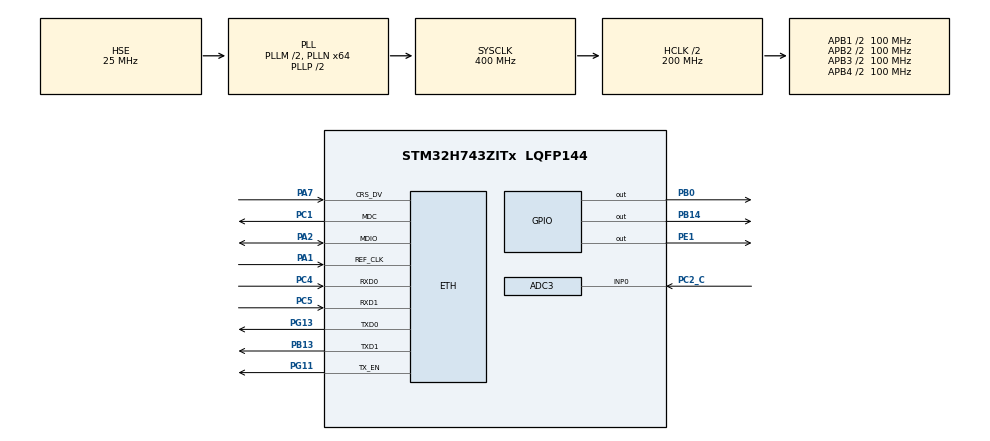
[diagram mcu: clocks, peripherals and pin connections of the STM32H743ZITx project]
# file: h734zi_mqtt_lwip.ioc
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ADC3.Channel-0\#ChannelRegularConversion=ADC_CHANNEL_0
ADC3.ClockPrescaler=ADC_CLOCK_ASYNC_DIV128
ADC3.NbrOfConversionFlag=1
ADC3.OffsetNumber-0\#ChannelRegularConversion=ADC_OFFSET_NONE
ADC3.OffsetSignedSaturation-0\#ChannelRegularConversion=DISABLE
ADC3.Rank-0\#ChannelRegularConversion=1
ADC3.Resolution=ADC_RESOLUTION_12B_OPT
ADC3.SamplingTime-0\#ChannelRegularConversion=ADC_SAMPLETIME_1CYCLE_5
CORTEX_M7.AccessPermission-Cortex_Memory_Protection_Unit_Region0_Settings=MPU_REGION_FULL_ACCESS
CORTEX_M7.AccessPermission-Cortex_Memory_Protection_Unit_Region1_Settings=MPU_REGION_FULL_ACCESS
CORTEX_M7.AccessPermission-Cortex_Memory_Protection_Unit_Region2_Settings=MPU_REGION_FULL_ACCESS
CORTEX_M7.BaseAddress-Cortex_Memory_Protection_Unit_Region0_Settings=0x30040000
CORTEX_M7.BaseAddress-Cortex_Memory_Protection_Unit_Region1_Settings=0x30044000
CORTEX_M7.BaseAddress-Cortex_Memory_Protection_Unit_Region2_Settings=0x30040000
CORTEX_M7.CPU_DCache=Enabled
CORTEX_M7.CPU_ICache=Enabled
CORTEX_M7.Enable-Cortex_Memory_Protection_Unit_Region0_Settings=MPU_REGION_ENABLE
CORTEX_M7.Enable-Cortex_Memory_Protection_Unit_Region1_Settings=MPU_REGION_ENABLE
CORTEX_M7.Enable-Cortex_Memory_Protection_Unit_Region2_Settings=MPU_REGION_ENABLE
CORTEX_M7.IsBufferable-Cortex_Memory_Protection_Unit_Region2_Settings=MPU_ACCESS_BUFFERABLE
CORTEX_M7.IsCacheable-Cortex_Memory_Protection_Unit_Region1_Settings=MPU_ACCESS_CACHEABLE
CORTEX_M7.MPU_Control=MPU_PRIVILEGED_DEFAULT
CORTEX_M7.Size-Cortex_Memory_Protection_Unit_Region0_Settings=MPU_REGION_SIZE_16KB
CORTEX_M7.Size-Cortex_Memory_Protection_Unit_Region1_Settings=MPU_REGION_SIZE_16KB
CORTEX_M7.Size-Cortex_Memory_Protection_Unit_Region2_Settings=MPU_REGION_SIZE_256B
CORTEX_M7.TypeExtField-Cortex_Memory_Protection_Unit_Region0_Settings=MPU_TEX_LEVEL1
ETH.MediaInterface=HAL_ETH_RMII_MODE
LWIP.BSP.number=1
LWIP.IP_ADDRESS=172.016.010.012
LWIP.LWIP_DHCP=0
LWIP.LWIP_HTTPD=1
LWIP.MEM_SIZE=16360
LWIP.NETMASK_ADDRESS=255.255.255.000
LWIP.Version=v2.1.2_Cube
LWIP0.BSP.STBoard=false
LWIP0.BSP.api=BSP_COMPONENT_DRIVER
LWIP0.BSP.component=LAN8742
LWIP0.BSP.i2caddr=0
LWIP0.BSP.instance=LAN8742
LWIP0.BSP.name=Driver_PHY
LWIP0.BSP.solution=LAN8742
Mcu.Family=STM32H7
Mcu.Name=STM32H743ZITx
Mcu.Package=LQFP144
NVIC.ETH_IRQn=true\:5\:0\:true\:false\:true\:true\:true
NVIC.PriorityGroup=NVIC_PRIORITYGROUP_4
NVIC.TIM3_IRQn=true\:0\:0\:false\:false\:true\:true\:true
PA1.GPIO_Speed=GPIO_SPEED_FREQ_VERY_HIGH
PA1.Mode=RMII
PA1.Signal=ETH_REF_CLK
PA2.GPIO_Speed=GPIO_SPEED_FREQ_VERY_HIGH
PA2.Mode=RMII
PA2.Signal=ETH_MDIO
PA7.GPIO_Speed=GPIO_SPEED_FREQ_VERY_HIGH
PA7.Mode=RMII
PA7.Signal=ETH_CRS_DV
PB0.Signal=GPIO_Output
PB13.GPIO_Speed=GPIO_SPEED_FREQ_VERY_HIGH
PB13.Mode=RMII
PB13.Signal=ETH_TXD1
PB14.Signal=GPIO_Output
PC1.Mode=RMII
PC1.Signal=ETH_MDC
PC2_C.Mode=IN0-Single-Ended
PC2_C.Signal=ADC3_INP0
PC4.GPIO_Speed=GPIO_SPEED_FREQ_VERY_HIGH
PC4.Mode=RMII
PC4.Signal=ETH_RXD0
PC5.GPIO_Speed=GPIO_SPEED_FREQ_VERY_HIGH
PC5.Mode=RMII
PC5.Signal=ETH_RXD1
PE1.Signal=GPIO_Output
PG11.GPIO_Speed=GPIO_SPEED_FREQ_VERY_HIGH
PG11.Mode=RMII
PG11.Signal=ETH_TX_EN
PG13.GPIO_Speed=GPIO_SPEED_FREQ_VERY_HIGH
PG13.Mode=RMII
PG13.Signal=ETH_TXD0
PH0-OSC_IN\ (PH0).Mode=HSE-External-Oscillator
PH0-OSC_IN\ (PH0).Signal=RCC_OSC_IN
PH1-OSC_OUT\ (PH1).Mode=HSE-External-Oscillator
PH1-OSC_OUT\ (PH1).Signal=RCC_OSC_OUT
ProjectManager.HeapSize=0x200
ProjectManager.StackSize=0x400
ProjectManager.TargetToolchain=STM32CubeIDE
RCC.ADCFreq_Value=30000000
RCC.APB1Freq_Value=100000000
RCC.APB2Freq_Value=100000000
RCC.APB3Freq_Value=100000000
RCC.APB4Freq_Value=100000000
RCC.CortexFreq_Value=400000000
RCC.D1PPRE=RCC_APB3_DIV2
RCC.D2PPRE1=RCC_APB1_DIV2
RCC.D2PPRE2=RCC_APB2_DIV2
RCC.D3PPRE=RCC_APB4_DIV2
RCC.DIVM1=2
RCC.DIVM2=2
RCC.DIVN1=64
RCC.DIVN2=12
RCC.DIVP2=5
RCC.HCLKFreq_Value=200000000
RCC.HPRE=RCC_HCLK_DIV2
RCC.PLLFRACN=0
RCC.PLLSourceVirtual=RCC_PLLSOURCE_HSE
RCC.SYSCLKFreq_VALUE=400000000
RCC.SYSCLKSource=RCC_SYSCLKSOURCE_PLLCLK
RCC.USBFreq_Value=400000000
TIM3.Period=1999
TIM3.Prescaler=59999
VP_LWIP_VS_Enabled.Mode=Enabled
VP_TIM3_VS_ClockSourceINT.Mode=Internal
board=custom

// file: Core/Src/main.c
/* USER CODE BEGIN Header */
/**
  ******************************************************************************
  * @file           : main.c
  * @brief          : Main program body
  ******************************************************************************
  * @attention
  *
  * <h2><center>&copy; Copyright (c) 2020 STMicroelectronics.
  * All rights reserved.</center></h2>
  *
  * This software component is licensed by ST under BSD 3-Clause license,
  * the "License"; You may not use this file except in compliance with the
  * License. You may obtain a copy of the License at:
  *                        opensource.org/licenses/BSD-3-Clause
  *
  ******************************************************************************
  */
/* USER CODE END Header */
#include "main.h"
#include "lwip.h"

/* USER CODE BEGIN Includes */
#include "mqtt.h"
#include "lwip_mqtt.h"
#include "lwip/opt.h"
#include "lwip/init.h"
#include "lwip/netif.h"
#include "netif/etharp.h"
#include "ethernetif.h"
#include "httpd.h"
#include "stdbool.h"
#include "math.h"
#include "adc_calculate.h"
/* USER CODE END Includes */

/* USER CODE BEGIN PTD */
typedef struct __packed {
	        uint32_t device_ip;
	        uint32_t subnet_mask;
	        uint32_t _padding[4];
	    } NetworkConfig;

/* USER CODE END PTD */

ADC_HandleTypeDef hadc3;

TIM_HandleTypeDef htim3;

/* USER CODE BEGIN PV */
__attribute__((__section__(".user_data"))) const uint32_t saved_config[2];

mqtt_client_t *client;

volatile uint16_t value;
volatile uint32_t sum_val =0;
volatile uint16_t avg_val =0;
double temp;
char* temperature_msg;
char* flash_msg;
bool temp_rdy_flag = 0;
volatile NetworkConfig current_config;
/* USER CODE END PV */

void SystemClock_Config(void);
static void MPU_Config(void);
static void MX_GPIO_Init(void);
static void MX_TIM3_Init(void);
static void MX_ADC3_Init(void);
/* USER CODE BEGIN PFP */
void HAL_TIM_PeriodElapsedCallback(TIM_HandleTypeDef *htim);
void setLD3on();
void setLD2on();
void setLD3off();
void setLD2off();
void process_mqtt_data(const u8_t *data, u16_t len);
void mqtt_reconnect();
void write_config_flash(uint8_t ip[4], uint8_t mask[4]);
/* USER CODE END PFP */

int main(void)
{

  /* MPU Configuration--------------------------------------------------------*/
  MPU_Config();

  /* Enable I-Cache---------------------------------------------------------*/
  SCB_EnableICache();

  /* Enable D-Cache---------------------------------------------------------*/
  SCB_EnableDCache();

  /* MCU Configuration--------------------------------------------------------*/

  /* Reset of all peripherals, Initializes the Flash interface and the Systick. */
  HAL_Init();

  /* Configure the system clock */
  SystemClock_Config();

  /* Initialize all configured peripherals */
  MX_GPIO_Init();
  MX_TIM3_Init();
  MX_LWIP_Init();
  MX_ADC3_Init();
  /* USER CODE BEGIN 2 */
  //init_Users();
  //init_Accounts();
  //add_Account(new_Account("admin", "admin"));

	httpd_init();
	client = mqtt_client_new();
	example_do_connect(client, "/presence");
	example_publish(client, "Hello from STM32H743");
	example_subscribe(client, "/led");

	HAL_TIM_Base_Start_IT(&htim3);

	    if(saved_config[0]){
	    	flash_msg = malloc(sizeof(char)*30);
	    	sprintf(flash_msg, "flash_read: %lu %lu", (unsigned long)saved_config[0], (unsigned long)saved_config[1]);
	    	publish_message(client, flash_msg, "/flash");

	    	uint8_t ip_flash[4];
	    	uint8_t mask_flash[4];

	    	ip_flash[0] = (saved_config[0] & 0xFF000000) >> 24;
	    	ip_flash[1] = (saved_config[0] & 0xFF0000) >> 16;
	    	ip_flash[2] = (saved_config[0] & 0xFF00) >> 8;
	    	ip_flash[3] = (saved_config[0] & 0xFF);

	    	mask_flash[0] = (saved_config[1] & 0xFF000000) >> 24;
	    	mask_flash[1] = (saved_config[1] & 0xFF0000) >> 16;
	    	mask_flash[2] = (saved_config[1] & 0xFF00) >> 8;
	    	mask_flash[3] = (saved_config[1] & 0xFF);

	    	changeIPaddress(ip_flash, mask_flash);

	    	flash_msg = malloc(sizeof(char)*30);
	    	sprintf(flash_msg, "flash_read: %u %u %u %u", ip_flash[0], ip_flash[1], ip_flash[2], ip_flash[3]);
	    	publish_message(client, flash_msg, "/flash");
	    }
	    else{
	    	publish_message(client, "flash null", "/flash");
	    }
	int i=0;
  /* USER CODE END 2 */

  /* Infinite loop */
  /* USER CODE BEGIN WHILE */
  while (1)
  {
	  MX_LWIP_Process();

	  HAL_ADC_Start(&hadc3);
	  if(HAL_ADC_PollForConversion(&hadc3,10) == HAL_OK){
		  value = HAL_ADC_GetValue(&hadc3);
	  	  sum_val += value;
	  	  ++i;
	  }
	  if(i>49){
		  avg_val = sum_val/50;
	  	  sum_val = 0;
	  	  temp = convertAnalogToTemperature(avg_val);
	  	  temp_rdy_flag = 1;
		  i=0;
  	  }
    /* USER CODE END WHILE */

  }
}

void SystemClock_Config(void)
{
  RCC_OscInitTypeDef RCC_OscInitStruct = {0};
  RCC_ClkInitTypeDef RCC_ClkInitStruct = {0};
  RCC_PeriphCLKInitTypeDef PeriphClkInitStruct = {0};

  /** Supply configuration update enable
  */
  HAL_PWREx_ConfigSupply(PWR_LDO_SUPPLY);
  /** Configure the main internal regulator output voltage
  */
  __HAL_PWR_VOLTAGESCALING_CONFIG(PWR_REGULATOR_VOLTAGE_SCALE1);

  while(!__HAL_PWR_GET_FLAG(PWR_FLAG_VOSRDY)) {}
  /** Macro to configure the PLL clock source
  */
  __HAL_RCC_PLL_PLLSOURCE_CONFIG(RCC_PLLSOURCE_HSE);
  /** Initializes the RCC Oscillators according to the specified parameters
  * in the RCC_OscInitTypeDef structure.
  */
  RCC_OscInitStruct.OscillatorType = RCC_OSCILLATORTYPE_HSE;
  RCC_OscInitStruct.HSEState = RCC_HSE_ON;
  RCC_OscInitStruct.PLL.PLLState = RCC_PLL_ON;
  RCC_OscInitStruct.PLL.PLLSource = RCC_PLLSOURCE_HSE;
  RCC_OscInitStruct.PLL.PLLM = 2;
  RCC_OscInitStruct.PLL.PLLN = 64;
  RCC_OscInitStruct.PLL.PLLP = 2;
  RCC_OscInitStruct.PLL.PLLQ = 2;
  RCC_OscInitStruct.PLL.PLLR = 2;
  RCC_OscInitStruct.PLL.PLLRGE = RCC_PLL1VCIRANGE_3;
  RCC_OscInitStruct.PLL.PLLVCOSEL = RCC_PLL1VCOWIDE;
  RCC_OscInitStruct.PLL.PLLFRACN = 0;
  if (HAL_RCC_OscConfig(&RCC_OscInitStruct) != HAL_OK)
  {
    Error_Handler();
  }
  /** Initializes the CPU, AHB and APB buses clocks
  */
  RCC_ClkInitStruct.ClockType = RCC_CLOCKTYPE_HCLK|RCC_CLOCKTYPE_SYSCLK
                              |RCC_CLOCKTYPE_PCLK1|RCC_CLOCKTYPE_PCLK2
                              |RCC_CLOCKTYPE_D3PCLK1|RCC_CLOCKTYPE_D1PCLK1;
  RCC_ClkInitStruct.SYSCLKSource = RCC_SYSCLKSOURCE_PLLCLK;
  RCC_ClkInitStruct.SYSCLKDivider = RCC_SYSCLK_DIV1;
  RCC_ClkInitStruct.AHBCLKDivider = RCC_HCLK_DIV2;
  RCC_ClkInitStruct.APB3CLKDivider = RCC_APB3_DIV2;
  RCC_ClkInitStruct.APB1CLKDivider = RCC_APB1_DIV2;
  RCC_ClkInitStruct.APB2CLKDivider = RCC_APB2_DIV2;
  RCC_ClkInitStruct.APB4CLKDivider = RCC_APB4_DIV2;

  if (HAL_RCC_ClockConfig(&RCC_ClkInitStruct, FLASH_LATENCY_2) != HAL_OK)
  {
    Error_Handler();
  }
  PeriphClkInitStruct.PeriphClockSelection = RCC_PERIPHCLK_ADC;
  PeriphClkInitStruct.PLL2.PLL2M = 2;
  PeriphClkInitStruct.PLL2.PLL2N = 12;
  PeriphClkInitStruct.PLL2.PLL2P = 5;
  PeriphClkInitStruct.PLL2.PLL2Q = 2;
  PeriphClkInitStruct.PLL2.PLL2R = 2;
  PeriphClkInitStruct.PLL2.PLL2RGE = RCC_PLL2VCIRANGE_3;
  PeriphClkInitStruct.PLL2.PLL2VCOSEL = RCC_PLL2VCOMEDIUM;
  PeriphClkInitStruct.PLL2.PLL2FRACN = 0;
  PeriphClkInitStruct.AdcClockSelection = RCC_ADCCLKSOURCE_PLL2;
  if (HAL_RCCEx_PeriphCLKConfig(&PeriphClkInitStruct) != HAL_OK)
  {
    Error_Handler();
  }
}

static void MX_ADC3_Init(void)
{

  ADC_ChannelConfTypeDef sConfig = {0};

  /** Common config
  */
  hadc3.Instance = ADC3;
  hadc3.Init.ClockPrescaler = ADC_CLOCK_ASYNC_DIV128;
  hadc3.Init.Resolution = ADC_RESOLUTION_12B_OPT;
  hadc3.Init.ScanConvMode = ADC_SCAN_DISABLE;
  hadc3.Init.EOCSelection = ADC_EOC_SINGLE_CONV;
  hadc3.Init.LowPowerAutoWait = DISABLE;
  hadc3.Init.ContinuousConvMode = DISABLE;
  hadc3.Init.NbrOfConversion = 1;
  hadc3.Init.DiscontinuousConvMode = DISABLE;
  hadc3.Init.ExternalTrigConv = ADC_SOFTWARE_START;
  hadc3.Init.ExternalTrigConvEdge = ADC_EXTERNALTRIGCONVEDGE_NONE;
  hadc3.Init.ConversionDataManagement = ADC_CONVERSIONDATA_DR;
  hadc3.Init.Overrun = ADC_OVR_DATA_PRESERVED;
  hadc3.Init.LeftBitShift = ADC_LEFTBITSHIFT_NONE;
  hadc3.Init.OversamplingMode = DISABLE;
  if (HAL_ADC_Init(&hadc3) != HAL_OK)
  {
    Error_Handler();
  }
  /** Configure Regular Channel
  */
  sConfig.Channel = ADC_CHANNEL_0;
  sConfig.Rank = ADC_REGULAR_RANK_1;
  sConfig.SamplingTime = ADC_SAMPLETIME_1CYCLE_5;
  sConfig.SingleDiff = ADC_SINGLE_ENDED;
  sConfig.OffsetNumber = ADC_OFFSET_NONE;
  sConfig.Offset = 0;
  sConfig.OffsetSignedSaturation = DISABLE;
  if (HAL_ADC_ConfigChannel(&hadc3, &sConfig) != HAL_OK)
  {
    Error_Handler();
  }

}

static void MX_TIM3_Init(void)
{

  TIM_ClockConfigTypeDef sClockSourceConfig = {0};
  TIM_MasterConfigTypeDef sMasterConfig = {0};

  htim3.Instance = TIM3;
  htim3.Init.Prescaler = 59999;
  htim3.Init.CounterMode = TIM_COUNTERMODE_UP;
  htim3.Init.Period = 1999;
  htim3.Init.ClockDivision = TIM_CLOCKDIVISION_DIV1;
  htim3.Init.AutoReloadPreload = TIM_AUTORELOAD_PRELOAD_DISABLE;
  if (HAL_TIM_Base_Init(&htim3) != HAL_OK)
  {
    Error_Handler();
  }
  sClockSourceConfig.ClockSource = TIM_CLOCKSOURCE_INTERNAL;
  if (HAL_TIM_ConfigClockSource(&htim3, &sClockSourceConfig) != HAL_OK)
  {
    Error_Handler();
  }
  sMasterConfig.MasterOutputTrigger = TIM_TRGO_RESET;
  sMasterConfig.MasterSlaveMode = TIM_MASTERSLAVEMODE_DISABLE;
  if (HAL_TIMEx_MasterConfigSynchronization(&htim3, &sMasterConfig) != HAL_OK)
  {
    Error_Handler();
  }

}

static void MX_GPIO_Init(void)
{
  GPIO_InitTypeDef GPIO_InitStruct = {0};

  /* GPIO Ports Clock Enable */
  __HAL_RCC_GPIOH_CLK_ENABLE();
  __HAL_RCC_GPIOC_CLK_ENABLE();
  __HAL_RCC_GPIOA_CLK_ENABLE();
  __HAL_RCC_GPIOB_CLK_ENABLE();
  __HAL_RCC_GPIOG_CLK_ENABLE();
  __HAL_RCC_GPIOE_CLK_ENABLE();

  /*Configure GPIO pin Output Level */
  HAL_GPIO_WritePin(GPIOB, GPIO_PIN_0|GPIO_PIN_14, GPIO_PIN_RESET);

  /*Configure GPIO pin Output Level */
  HAL_GPIO_WritePin(GPIOE, GPIO_PIN_1, GPIO_PIN_RESET);

  /*Configure GPIO pins : PB0 PB14 */
  GPIO_InitStruct.Pin = GPIO_PIN_0|GPIO_PIN_14;
  GPIO_InitStruct.Mode = GPIO_MODE_OUTPUT_PP;
  GPIO_InitStruct.Pull = GPIO_NOPULL;
  GPIO_InitStruct.Speed = GPIO_SPEED_FREQ_LOW;
  HAL_GPIO_Init(GPIOB, &GPIO_InitStruct);

  /*Configure GPIO pin : PE1 */
  GPIO_InitStruct.Pin = GPIO_PIN_1;
  GPIO_InitStruct.Mode = GPIO_MODE_OUTPUT_PP;
  GPIO_InitStruct.Pull = GPIO_NOPULL;
  GPIO_InitStruct.Speed = GPIO_SPEED_FREQ_LOW;
  HAL_GPIO_Init(GPIOE, &GPIO_InitStruct);

}

/* USER CODE BEGIN 4 */
void HAL_TIM_PeriodElapsedCallback(TIM_HandleTypeDef *htim){
	if(htim->Instance == TIM3){
		if(temp_rdy_flag){
			temperature_msg = malloc(sizeof(char)*20);
			sprintf(temperature_msg, "Temperature: %.2f", temp);
			publish_message(client, temperature_msg, "/temperature");
		}
	}
}

void setLD3on(){
	HAL_GPIO_WritePin(GPIOB, GPIO_PIN_14,1);

}
void setLD3off(){
	HAL_GPIO_WritePin(GPIOB, GPIO_PIN_14,0);

}
void setLD2on(){
	HAL_GPIO_WritePin(GPIOE, GPIO_PIN_1,1);
}
void setLD2off(){
	HAL_GPIO_WritePin(GPIOE, GPIO_PIN_1,0);
}

void setLD1on(){
	HAL_GPIO_WritePin(GPIOB, GPIO_PIN_0,1);
}
void setLD1off(){
	HAL_GPIO_WritePin(GPIOB, GPIO_PIN_0,0);

}
void getLDState(uint8_t* state){
	state[0] = HAL_GPIO_ReadPin(GPIOB, GPIO_PIN_0);
	state[1] = HAL_GPIO_ReadPin(GPIOE, GPIO_PIN_1);
	state[2] = HAL_GPIO_ReadPin(GPIOB, GPIO_PIN_14);
}
void process_mqtt_data(const u8_t *data, u16_t len){
	if(!strncmp(data, "LD1_ON", len)){
		setLD1on();
	}
	else if(!strncmp(data, "LD1_OFF", len)){
		setLD1off();
	}
	else if(!strncmp(data, "LD2_ON", len)){
		setLD2on();
	}
	else if(!strncmp(data, "LD2_OFF", len)){
		setLD2off();
	}
	else if(!strncmp(data, "LD3_ON", len)){
		setLD3on();
	}
	else if(!strncmp(data, "LD3_OFF", len)){
		setLD3off();
	}
	else if(!strncmp(data, "LD_STATE", len)){
		uint8_t LD_STATE[3];
		getLDState(LD_STATE);
		char* LD_STATE_Text = malloc(sizeof(char)*50);
		sprintf(LD_STATE_Text, "LD1: %d, LD2: %d, LD3: %d", LD_STATE[0], LD_STATE[1], LD_STATE[2]);
		publish_message(client, LD_STATE_Text, "/led");
	}
}
void mqtt_reconnect(){
	example_do_connect(client, "/presence");
}
void write_config_flash(uint8_t ip[4], uint8_t mask[4]){
	for(int i=0; i<4; ++i) {
		current_config.device_ip <<= 8;
		current_config.device_ip += ip[i];
	}
	for(int i=0; i<4; ++i) {
		current_config.subnet_mask <<= 8;
		current_config.subnet_mask += mask[i];
	}

	HAL_FLASH_Unlock();
	__HAL_FLASH_CLEAR_FLAG(FLASH_FLAG_EOP | FLASH_FLAG_OPERR | FLASH_FLAG_WRPERR | FLASH_FLAG_PGSERR);
	FLASH_Erase_Sector(FLASH_SECTOR_7, FLASH_BANK_2, VOLTAGE_RANGE_3);
	HAL_FLASH_Program(FLASH_TYPEPROGRAM_FLASHWORD, 0x081E0000, (uint32_t) &current_config);
	HAL_FLASH_Lock();
}
/* USER CODE END 4 */

/* MPU Configuration */

void MPU_Config(void)
{
  MPU_Region_InitTypeDef MPU_InitStruct = {0};

  /* Disables the MPU */
  HAL_MPU_Disable();
  /** Initializes and configures the Region and the memory to be protected
  */
  MPU_InitStruct.Enable = MPU_REGION_ENABLE;
  MPU_InitStruct.Number = MPU_REGION_NUMBER0;
  MPU_InitStruct.BaseAddress = 0x30040000;
  MPU_InitStruct.Size = MPU_REGION_SIZE_16KB;
  MPU_InitStruct.SubRegionDisable = 0x0;
  MPU_InitStruct.TypeExtField = MPU_TEX_LEVEL1;
  MPU_InitStruct.AccessPermission = MPU_REGION_FULL_ACCESS;
  MPU_InitStruct.DisableExec = MPU_INSTRUCTION_ACCESS_ENABLE;
  MPU_InitStruct.IsShareable = MPU_ACCESS_NOT_SHAREABLE;
  MPU_InitStruct.IsCacheable = MPU_ACCESS_NOT_CACHEABLE;
  MPU_InitStruct.IsBufferable = MPU_ACCESS_NOT_BUFFERABLE;

  HAL_MPU_ConfigRegion(&MPU_InitStruct);
  /** Initializes and configures the Region and the memory to be protected
  */
  MPU_InitStruct.Enable = MPU_REGION_ENABLE;
  MPU_InitStruct.Number = MPU_REGION_NUMBER1;
  MPU_InitStruct.BaseAddress = 0x30044000;
  MPU_InitStruct.Size = MPU_REGION_SIZE_16KB;
  MPU_InitStruct.SubRegionDisable = 0x0;
  MPU_InitStruct.TypeExtField = MPU_TEX_LEVEL0;
  MPU_InitStruct.AccessPermission = MPU_REGION_FULL_ACCESS;
  MPU_InitStruct.DisableExec = MPU_INSTRUCTION_ACCESS_ENABLE;
  MPU_InitStruct.IsShareable = MPU_ACCESS_NOT_SHAREABLE;
  MPU_InitStruct.IsCacheable = MPU_ACCESS_CACHEABLE;
  MPU_InitStruct.IsBufferable = MPU_ACCESS_NOT_BUFFERABLE;

  HAL_MPU_ConfigRegion(&MPU_InitStruct);
  /** Initializes and configures the Region and the memory to be protected
  */
  MPU_InitStruct.Enable = MPU_REGION_ENABLE;
  MPU_InitStruct.Number = MPU_REGION_NUMBER2;
  MPU_InitStruct.BaseAddress = 0x30040000;
  MPU_InitStruct.Size = MPU_REGION_SIZE_256B;
  MPU_InitStruct.SubRegionDisable = 0x0;
  MPU_InitStruct.TypeExtField = MPU_TEX_LEVEL0;
  MPU_InitStruct.AccessPermission = MPU_REGION_FULL_ACCESS;
  MPU_InitStruct.DisableExec = MPU_INSTRUCTION_ACCESS_ENABLE;
  MPU_InitStruct.IsShareable = MPU_ACCESS_NOT_SHAREABLE;
  MPU_InitStruct.IsCacheable = MPU_ACCESS_NOT_CACHEABLE;
  MPU_InitStruct.IsBufferable = MPU_ACCESS_BUFFERABLE;

  HAL_MPU_ConfigRegion(&MPU_InitStruct);
  /* Enables the MPU */
  HAL_MPU_Enable(MPU_PRIVILEGED_DEFAULT);

}

void Error_Handler(void)
{
}

/************************ (C) COPYRIGHT STMicroelectronics *****END OF FILE****/
